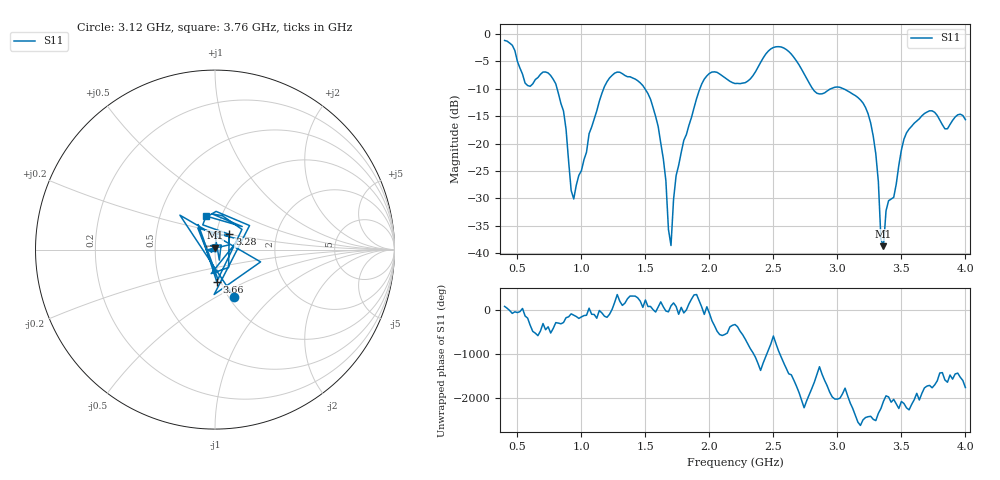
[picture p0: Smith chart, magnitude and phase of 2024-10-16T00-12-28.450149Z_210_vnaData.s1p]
! Created with skrf (http://scikit-rf.org).
# Hz S RI R 50.0
!freq ReS11 ImS11
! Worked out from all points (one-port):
!   181 points, 400 MHz to 4 GHz, reference 50 ohm
!   lowest |S11| = -38.7 dB at 3.36 GHz (marker M1), VSWR 1.02, Z = 49.9 + j1.15 ohm
!   |S11| at or under -10 dB: 810.3 MHz to 1.174 GHz (363.3 MHz wide, 36.6 % of centre); 1.496 GHz to 1.926 GHz (429.4 MHz wide, 25.1 % of centre); 3.047 GHz to end of sweep (the widest 3 of 4)
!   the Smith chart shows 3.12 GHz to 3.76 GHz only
!   S11 on the Smith chart (normalised r, x): 3.12 GHz: 1.06, -0.60; 3.28 GHz: 1.15, +0.20; 3.66 GHz: 0.96, -0.35; 3.76 GHz: 0.85, +0.33
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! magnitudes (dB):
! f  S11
! 400 MHz  -1.2
! 580 MHz  -9.4
! 760 MHz  -7.6
! 860 MHz  -14.1
! 940 MHz  -30.1
! 1.16 GHz  -10.8
! 1.3 GHz  -7.0
! 1.56 GHz  -13.5
! 1.64 GHz  -22.8
! 1.7 GHz  -38.6
! 1.72 GHz  -30.2
! 1.76 GHz  -24.0
! 1.96 GHz  -8.2
! 2.2 GHz  -9.1
! 2.5 GHz  -2.5
! 2.66 GHz  -4.3
! 2.84 GHz  -10.8
! 3.1 GHz  -10.7
! 3.12 GHz  -11.0
! 3.28 GHz  -18.7
! 3.32 GHz  -27.0
! 3.34 GHz  -37.4
! 3.36 GHz  -38.7
! 3.38 GHz  -32.3
! 3.56 GHz  -17.4
! 3.66 GHz  -14.9
! 3.76 GHz  -14.3
! 4 GHz  -15.6
